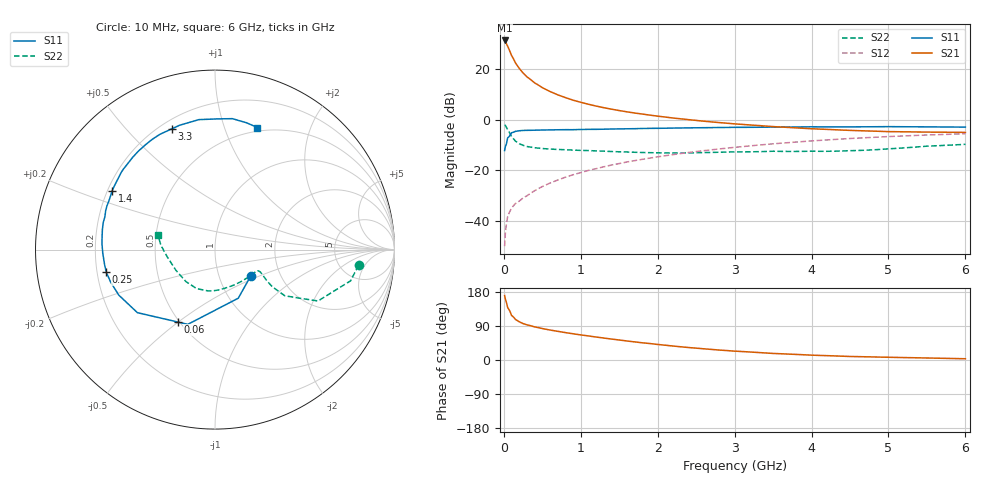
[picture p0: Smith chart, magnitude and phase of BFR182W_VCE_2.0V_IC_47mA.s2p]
! (c) 2017  Infineon Technologies AG, Munich
! Infineon Technologies  Discrete & RF Semiconductors
! BFR182W
! VCE =  2.0 V,  IC =  47 mA
! Common Emitter S-Parameters:  Jan 2017
# GHz  S  MA  R  50
!  f  S11  S21  S12  S22
! GHz  MAG  ANG  MAG  ANG  MAG  ANG  MAG  ANG
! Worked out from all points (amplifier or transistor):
!   77 points, 10 MHz to 6 GHz, reference 50 ohm
!   highest |S21| = 31.4 dB at 10 MHz (marker M1)
!   |S21| within 3 dB of that: start of sweep to 60.34 MHz
!   unconditionally stable (mu >= 1): start of sweep to 15.7 MHz; 198.4 MHz to end of sweep
!   at 130 MHz: K = 0.80, MSG = 28.8 dB, |S12| = -33.8 dB
!   at 2.2 GHz: K = 1.11, MAG = 5.2 dB, |S12| = -13.7 dB
!   at 6 GHz: K = 1.07, MAG = -1.3 dB, |S12| = -5.5 dB
!   S11 on the Smith chart (normalised r, x): 10 MHz: 1.42, -0.44; 60 MHz: 0.49, -0.50; 250 MHz: 0.24, -0.10; 1.4 GHz: 0.22, +0.25; 3.3 GHz: 0.25, +0.67; 6 GHz: 0.46, +1.30
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0.01  0.2473 -36.1  37.06 170.0  0.0032 67.2  0.8049 -6.2
0.02  0.3002 -64.4  36.13 160.7  0.0059 68.8  0.775 -13.0
0.05  0.4432 -110.0  28.46 138.1  0.0123 59.6  0.6415 -26.5
0.06  0.4538 -117.2  26.31 135.2  0.0134 58.2  0.606 -27.6
0.1  0.5571 -140.9  18.75 117.6  0.018 54.3  0.4667 -33.5
0.11  0.5616 -143.8  17.66 116.0  0.0188 54.1  0.4497 -33.4
0.15  0.5931 -154.7  13.47 107.3  0.0222 53.4  0.3816 -33.0
0.2  0.6091 -162.8  10.4 100.9  0.0248 57.3  0.3384 -31.1
0.25  0.6188 -168.3  8.452 96.1  0.0287 59.4  0.3142 -29.2
0.3  0.621 -172.5  7.087 92.8  0.0316 62.5  0.2978 -27.7
0.4  0.6258 -178.4  5.39 87.3  0.0398 65.9  0.2814 -26.2
0.5  0.6308 176.9  4.333 83.0  0.0481 68.3  0.2716 -26.1
0.7  0.6375 169.7  3.131 75.7  0.0647 71.6  0.2605 -27.5
0.9  0.6401 163.4  2.452 69.2  0.0824 72.4  0.2531 -30.8
1.1  0.6495 157.9  2.034 63.5  0.1005 72.9  0.2475 -35.0
1.4  0.6601 150.3  1.628 55.3  0.1282 72.1  0.237 -42.5
2.1  0.6847 134.0  1.136 39.0  0.1961 67.5  0.2222 -66.1
3.1  0.712 113.6  0.814 22.3  0.2964 57.5  0.2334 -102.6
3.3  0.7145 109.8  0.775 19.9  0.3163 55.2  0.2353 -109.1
4.1  0.7283 95.5  0.658 12.1  0.3928 45.7  0.2396 -136.4
5.1  0.7337 81.2  0.584 6.8  0.4747 33.4  0.2734 -173.7
6  0.72 70.8  0.566 3.3  0.5326 22.7  0.3291 165.5
